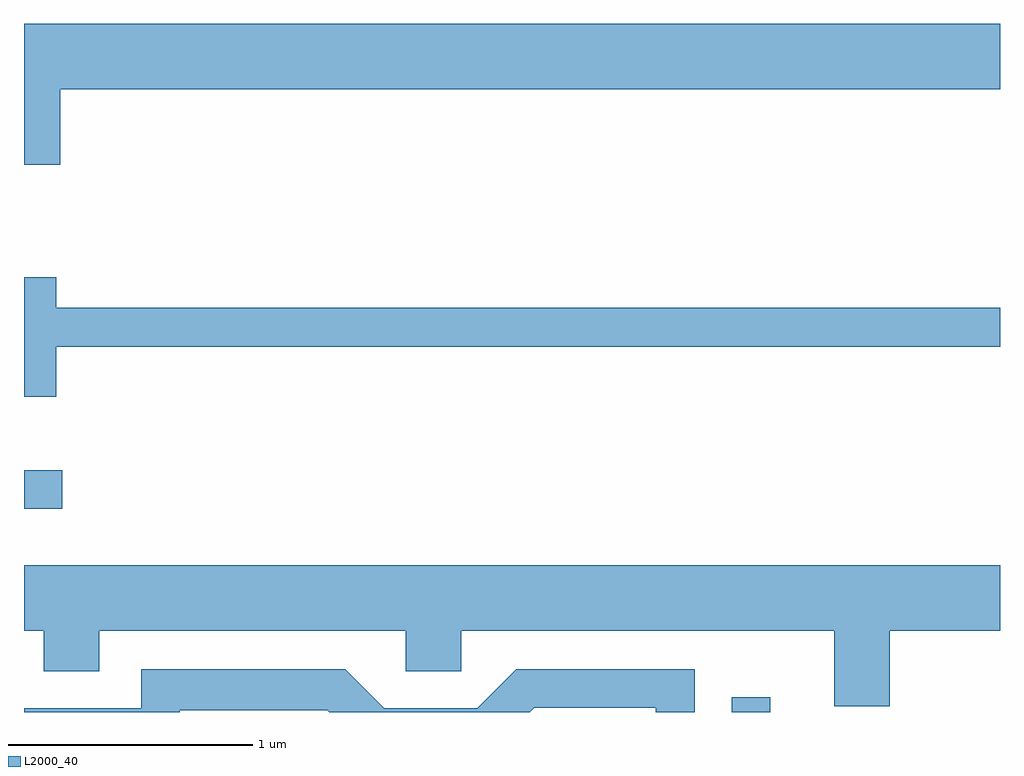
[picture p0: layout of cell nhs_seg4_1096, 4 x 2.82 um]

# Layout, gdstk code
import gdstk
lib = gdstk.Library(unit=1e-6, precision=1e-09)
def R(c, l, rs):  # rectangles x0, y0, x1, y1
    for r in rs: c.add(gdstk.rectangle(r[:2], r[2:], *l))
def P(c, l, *ps):  # polygons
    for p in ps: c.add(gdstk.Polygon(p, *l))
L2000_40 = (2000, 40)

nhs_seg4_1096 = lib.new_cell('nhs_seg4_1096')
R(nhs_seg4_1096, L2000_40, [(220.511,1269.982,220.669,1270.043), (217.611,1270.816,217.768,1270.974)])
P(nhs_seg4_1096, L2000_40, [(217.759,1272.536),(221.611,1272.536),(221.611,1272.804),(217.611,1272.804),(217.611,1272.226),(217.759,1272.226)],
  [(217.744,1271.481),(221.611,1271.481),(221.611,1271.639),(217.744,1271.639),(217.744,1271.764),(217.611,1271.764),(217.611,1271.276),(217.744,1271.276)],
  [(221.159,1270.316),(221.611,1270.316),(221.611,1270.584),(217.611,1270.584),(217.611,1270.316),(217.691,1270.316),(217.691,1270.151),(217.919,1270.151),(217.919,1270.316),(219.176,1270.316),(219.176,1270.151),(219.404,1270.151),(219.404,1270.316),(220.931,1270.316),(220.931,1270.006),(221.159,1270.006)],
  [(218.249,1269.991),(218.854,1269.991),(218.863,1269.982),(219.683,1269.982),(219.702,1270.001),(220.201,1270.001),(220.201,1269.982),(220.359,1269.982),(220.359,1270.159),(219.629,1270.159),(219.469,1269.999),(219.087,1269.999),(218.927,1270.159),(218.091,1270.159),(218.091,1269.999),(217.611,1269.999),(217.611,1269.982),(218.249,1269.982)])

lib.write_gds('nhs_seg4_1096.gds')
